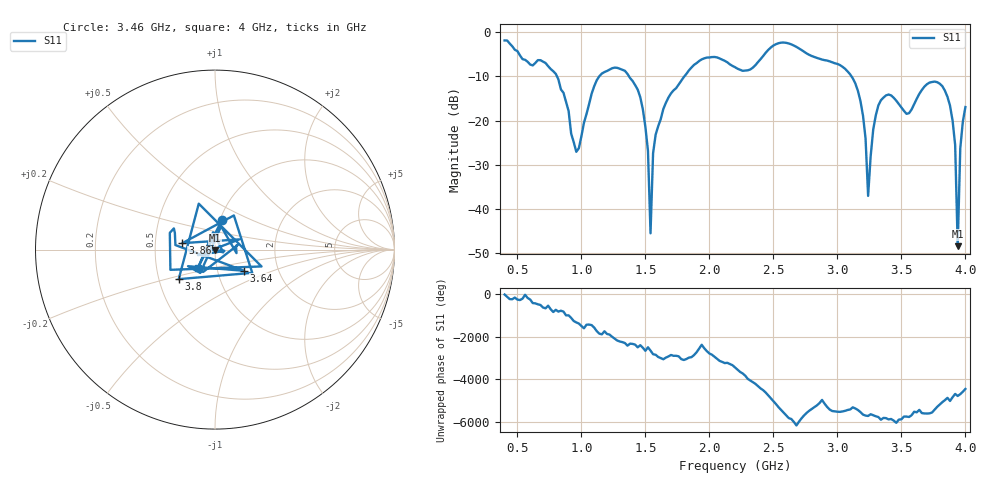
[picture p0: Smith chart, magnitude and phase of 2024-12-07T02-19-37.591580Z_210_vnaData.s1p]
!Created with skrf (http://scikit-rf.org).
# Hz S RI R 50.0
!freq ReS11 ImS11
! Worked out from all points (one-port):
!   181 points, 400 MHz to 4 GHz, reference 50 ohm
!   lowest |S11| = -48.4 dB at 3.94 GHz (marker M1), VSWR 1.01, Z = 49.9 - j0.372 ohm
!   |S11| at or under -10 dB: 809 MHz to 1.14 GHz (330.7 MHz wide, 33.9 % of centre); 1.372 GHz to 1.805 GHz (433.1 MHz wide, 27.3 % of centre); 3.11 GHz to end of sweep
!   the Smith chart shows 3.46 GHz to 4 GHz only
!   S11 on the Smith chart (normalised r, x): 3.46 GHz: 1.02, +0.34; 3.64 GHz: 1.34, -0.33; 3.8 GHz: 0.63, -0.22; 3.86 GHz: 0.69, +0.05; 4 GHz: 0.81, -0.17
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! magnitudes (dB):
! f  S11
! 400 MHz  -1.9
! 860 MHz  -13.7
! 960 MHz  -27.0
! 1.12 GHz  -10.9
! 1.3 GHz  -8.3
! 1.48 GHz  -17.4
! 1.52 GHz  -26.8
! 1.54 GHz  -45.4
! 1.56 GHz  -27.4
! 1.58 GHz  -23.2
! 1.76 GHz  -11.8
! 1.98 GHz  -5.8
! 2.2 GHz  -7.9
! 2.66 GHz  -3.1
! 3.1 GHz  -9.6
! 3.2 GHz  -18.9
! 3.24 GHz  -37.0
! 3.28 GHz  -22.0
! 3.32 GHz  -16.6
! 3.46 GHz  -15.5
! 3.56 GHz  -18.3
! 3.64 GHz  -14.0
! 3.8 GHz  -11.7
! 3.86 GHz  -14.6
! 3.92 GHz  -25.5
! 3.94 GHz  -48.4
! 3.96 GHz  -26.3
! 4 GHz  -16.9
